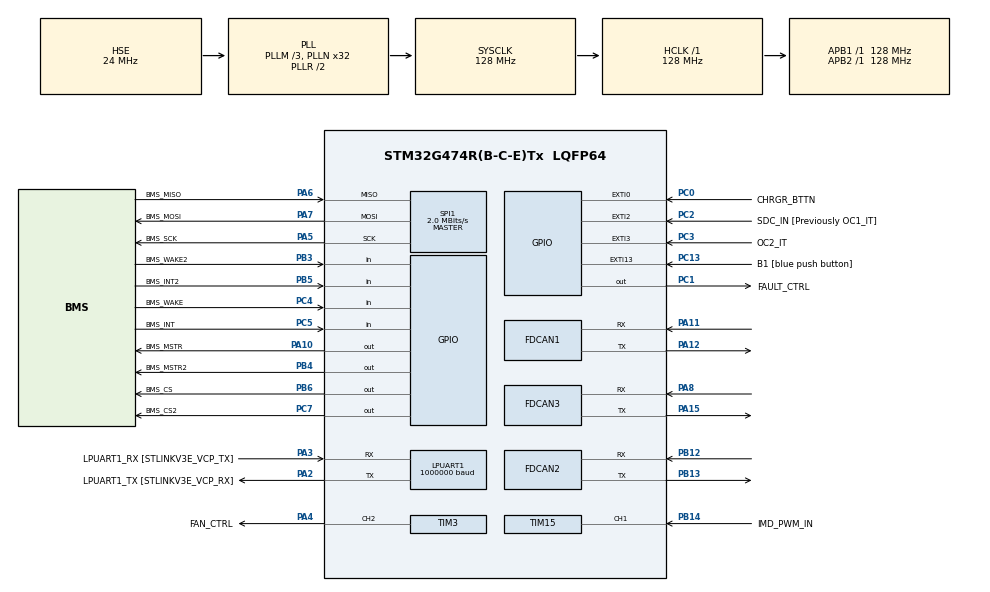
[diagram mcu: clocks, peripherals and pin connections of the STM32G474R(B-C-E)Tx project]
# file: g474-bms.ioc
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Dma.LPUART1_TX.0.Direction=DMA_MEMORY_TO_PERIPH
Dma.LPUART1_TX.0.EventEnable=DISABLE
Dma.LPUART1_TX.0.Instance=DMA1_Channel1
Dma.LPUART1_TX.0.MemDataAlignment=DMA_MDATAALIGN_BYTE
Dma.LPUART1_TX.0.MemInc=DMA_MINC_ENABLE
Dma.LPUART1_TX.0.Mode=DMA_NORMAL
Dma.LPUART1_TX.0.PeriphDataAlignment=DMA_PDATAALIGN_BYTE
Dma.LPUART1_TX.0.PeriphInc=DMA_PINC_DISABLE
Dma.LPUART1_TX.0.Polarity=HAL_DMAMUX_REQ_GEN_RISING
Dma.LPUART1_TX.0.Priority=DMA_PRIORITY_LOW
Dma.LPUART1_TX.0.RequestNumber=1
Dma.LPUART1_TX.0.SignalID=NONE
Dma.LPUART1_TX.0.SyncEnable=DISABLE
Dma.LPUART1_TX.0.SyncPolarity=HAL_DMAMUX_SYNC_NO_EVENT
Dma.LPUART1_TX.0.SyncRequestNumber=1
Dma.LPUART1_TX.0.SyncSignalID=NONE
Dma.Request0=LPUART1_TX
FDCAN1.AutoRetransmission=ENABLE
FDCAN1.CalculateBaudRateNominal=1000000
FDCAN1.CalculateTimeBitNominal=1000
FDCAN1.CalculateTimeQuantumNominal=62.5
FDCAN1.ClockDivider=FDCAN_CLOCK_DIV2
FDCAN1.DataSyncJumpWidth=1
FDCAN1.ExtFiltersNbr=2
FDCAN1.NominalPrescaler=4
FDCAN1.NominalSyncJumpWidth=2
FDCAN1.NominalTimeSeg1=13
FDCAN1.NominalTimeSeg2=2
FDCAN1.StdFiltersNbr=1
FDCAN2.AutoRetransmission=ENABLE
FDCAN2.CalculateBaudRateNominal=500000
FDCAN2.CalculateTimeBitNominal=2000
FDCAN2.CalculateTimeQuantumNominal=125.0
FDCAN2.ClockDivider=FDCAN_CLOCK_DIV2
FDCAN2.NominalPrescaler=8
FDCAN2.NominalSyncJumpWidth=2
FDCAN2.NominalTimeSeg1=13
FDCAN2.NominalTimeSeg2=2
FDCAN2.StdFiltersNbr=3
FDCAN3.AutoRetransmission=ENABLE
FDCAN3.CalculateBaudRateNominal=250000
FDCAN3.CalculateTimeBitNominal=4000
FDCAN3.CalculateTimeQuantumNominal=250.0
FDCAN3.ClockDivider=FDCAN_CLOCK_DIV2
FDCAN3.ExtFiltersNbr=1
FDCAN3.NominalPrescaler=8
FDCAN3.NominalSyncJumpWidth=2
FDCAN3.NominalTimeSeg1=13
FDCAN3.NominalTimeSeg2=2
LPUART1.BaudRate=1000000
Mcu.Family=STM32G4
Mcu.Name=STM32G474R(B-C-E)Tx
Mcu.Package=LQFP64
NVIC.DMA1_Channel1_IRQn=true\:0\:0\:false\:false\:true\:false\:true\:true
NVIC.EXTI0_IRQn=true\:0\:0\:false\:false\:true\:true\:true\:true
NVIC.EXTI15_10_IRQn=true\:0\:0\:false\:false\:true\:true\:true\:true
NVIC.FDCAN1_IT0_IRQn=true\:0\:0\:false\:false\:true\:true\:true\:true
NVIC.FDCAN2_IT0_IRQn=true\:0\:0\:false\:false\:true\:true\:true\:true
NVIC.FDCAN3_IT0_IRQn=true\:0\:0\:false\:false\:true\:true\:true\:true
NVIC.LPUART1_IRQn=true\:0\:0\:false\:false\:true\:true\:true\:true
NVIC.PriorityGroup=NVIC_PRIORITYGROUP_4
NVIC.TIM1_BRK_TIM15_IRQn=true\:0\:0\:false\:false\:true\:true\:true\:true
NVIC.TIM1_UP_TIM16_IRQn=true\:0\:0\:false\:false\:true\:true\:true\:true
PA10.GPIO_Label=BMS_MSTR
PA10.Signal=GPIO_Output
PA11.Mode=FDCAN_Activate
PA11.Signal=FDCAN1_RX
PA12.Mode=FDCAN_Activate
PA12.Signal=FDCAN1_TX
PA15.Mode=FDCAN_Activate
PA15.Signal=FDCAN3_TX
PA13.GPIO_Label=T_SWDIO
PA13.Mode=Serial_Wire
PA13.Signal=SYS_JTMS-SWDIO
PA14.GPIO_Label=T_SWCLK
PA14.Mode=Serial_Wire
PA14.Signal=SYS_JTCK-SWCLK
PA2.GPIO_Label=LPUART1_TX [STLINKV3E_VCP_RX]
PA2.Mode=Asynchronous
PA2.Signal=LPUART1_TX
PA3.GPIO_Label=LPUART1_RX [STLINKV3E_VCP_TX]
PA3.Mode=Asynchronous
PA3.Signal=LPUART1_RX
PA4.GPIO_Label=FAN_CTRL
PA4.Signal=S_TIM3_CH2
PA5.GPIO_Label=BMS_SCK
PA5.Mode=Full_Duplex_Master
PA5.Signal=SPI1_SCK
PA6.GPIO_Label=BMS_MISO
PA6.Mode=Full_Duplex_Master
PA6.Signal=SPI1_MISO
PA7.GPIO_Label=BMS_MOSI
PA7.Mode=Full_Duplex_Master
PA7.Signal=SPI1_MOSI
PA8.Mode=FDCAN_Activate
PA8.Signal=FDCAN3_RX
PB12.Mode=FDCAN_Activate
PB12.Signal=FDCAN2_RX
PB13.Mode=FDCAN_Activate
PB13.Signal=FDCAN2_TX
PB14.GPIO_Label=IMD_PWM_IN
PB14.Signal=S_TIM15_CH1
PB3.GPIO_Label=BMS_WAKE2
PB3.Signal=GPIO_Input
PB4.GPIO_Label=BMS_MSTR2
PB4.Signal=GPIO_Output
PB5.GPIO_Label=BMS_INT2
PB5.Signal=GPIO_Input
PB6.GPIO_Label=BMS_CS
PB6.Signal=GPIO_Output
PC0.GPIO_Label=CHRGR_BTTN
PC0.GPIO_ModeDefaultEXTI=GPIO_MODE_IT_FALLING
PC0.GPIO_PuPd=GPIO_NOPULL
PC0.Signal=GPXTI0
PC1.GPIO_Label=FAULT_CTRL
PC1.GPIO_ModeDefaultOutputPP=GPIO_MODE_OUTPUT_OD
PC1.GPIO_PuPd=GPIO_NOPULL
PC1.PinState=GPIO_PIN_SET
PC1.Signal=GPIO_Output
PC13.GPIO_Label=B1 [blue push button]
PC13.Signal=GPXTI13
PC14-OSC32_IN.GPIO_Label=RCC_OSC32_IN
PC14-OSC32_IN.Mode=LSE-External-Oscillator
PC14-OSC32_IN.Signal=RCC_OSC32_IN
PC15-OSC32_OUT.GPIO_Label=RCC_OSC32_OUT
PC15-OSC32_OUT.Mode=LSE-External-Oscillator
PC15-OSC32_OUT.Signal=RCC_OSC32_OUT
PC2.GPIO_Label=SDC_IN [Previously OC1_IT]
PC2.Signal=GPXTI2
PC3.GPIO_Label=OC2_IT
PC3.Signal=GPXTI3
PC4.GPIO_Label=BMS_WAKE
PC4.Signal=GPIO_Input
PC5.GPIO_Label=BMS_INT
PC5.Signal=GPIO_Input
PC7.GPIO_Label=BMS_CS2
PC7.Signal=GPIO_Output
PF0-OSC_IN.GPIO_Label=RCC_OSC_IN
PF0-OSC_IN.Mode=HSE-External-Oscillator
PF0-OSC_IN.Signal=RCC_OSC_IN
PF1-OSC_OUT.GPIO_Label=RCC_OSC_OUT
PF1-OSC_OUT.Mode=HSE-External-Oscillator
PF1-OSC_OUT.Signal=RCC_OSC_OUT
ProjectManager.HeapSize=0x200
ProjectManager.StackSize=0x400
ProjectManager.TargetToolchain=STM32CubeIDE
RCC.ADC12Freq_Value=128000000
RCC.ADC345Freq_Value=128000000
RCC.AHBFreq_Value=128000000
RCC.APB1Freq_Value=128000000
RCC.APB1TimFreq_Value=128000000
RCC.APB2Freq_Value=128000000
RCC.APB2TimFreq_Value=128000000
RCC.CortexFreq_Value=128000000
RCC.EXTERNAL_CLOCK_VALUE=12288000
RCC.HCLKFreq_Value=128000000
RCC.HSE_VALUE=24000000
RCC.HSI48_VALUE=48000000
RCC.HSI_VALUE=16000000
RCC.PLLM=RCC_PLLM_DIV3
RCC.PLLN=32
RCC.PLLSourceVirtual=RCC_PLLSOURCE_HSE
RCC.RTCClockSelection=RCC_RTCCLKSOURCE_LSE
RCC.SYSCLKFreq_VALUE=128000000
RCC.SYSCLKSource=RCC_SYSCLKSOURCE_PLLCLK
RCC.USBFreq_Value=128000000
RCC.VCOOutputFreq_Value=256000000
SH.S_TIM15_CH1.0=TIM15_CH1,PWM_Input_1
SH.S_TIM3_CH2.0=TIM3_CH2,PWM Generation2 CH2
SPI1.BaudRatePrescaler=SPI_BAUDRATEPRESCALER_64
SPI1.CalculateBaudRate=2.0 MBits/s
SPI1.DataSize=SPI_DATASIZE_8BIT
SPI1.Direction=SPI_DIRECTION_2LINES
SPI1.Mode=SPI_MODE_MASTER
SPI1.VirtualType=VM_MASTER
TIM15.Prescaler=0
TIM16.AutoReloadPreload=TIM_AUTORELOAD_PRELOAD_DISABLE
TIM16.PeriodNoDither=100 - 1
TIM16.Prescaler=1280 - 1
TIM2.PeriodNoDither=4294967295
TIM2.Prescaler=128-1
TIM3.AutoReloadPreload=TIM_AUTORELOAD_PRELOAD_ENABLE
TIM3.Channel-PWM\ Generation2\ CH2=TIM_CHANNEL_2
TIM3.PeriodNoDither=256 - 1
TIM3.Prescaler=20 - 1
VP_SYS_VS_DBSignals.Mode=DisableDeadBatterySignals
VP_TIM15_VS_ClockSourceINT.Mode=Internal
VP_TIM16_VS_ClockSourceINT.Mode=Enable_Timer
VP_TIM2_VS_ClockSourceINT.Mode=Internal
VP_TIM3_VS_ClockSourceINT.Mode=Internal
board=NUCLEO-G474RE

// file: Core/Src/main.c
/* USER CODE BEGIN Header */
/**
  ******************************************************************************
  * @file           : main.c
  * @brief          : Main program body
  ******************************************************************************
  * @attention
  *
  * Copyright (c) 2024 STMicroelectronics.
  * All rights reserved.
  *
  * This software is licensed under terms that can be found in the LICENSE file
  * in the root directory of this software component.
  * If no LICENSE file comes with this software, it is provided AS-IS.
  *
  ******************************************************************************
  */
/* USER CODE END Header */
#include "main.h"
#include "dma.h"
#include "fdcan.h"
#include "usart.h"
#include "spi.h"
#include "tim.h"
#include "gpio.h"

/* USER CODE BEGIN Includes */
#include "string.h"
#include "stdio.h"

#include "bms_datatypes.h"
#include "bms_utility.h"
#include "bms_mcuWrapper.h"
#include "bms_libWrapper.h"

#include "uartDMA.h"
#include "bms_can.h"
#include "bms_gpio.h"
#include "bms_ivt.h"
#include "bms_safety.h"
#include "bms_precharge.h"
#include "bms_inverter.h"
#include "bms_settings.h"
#include "bms_charger.h"
#include <math.h>

/* USER CODE END Includes */

/* USER CODE BEGIN PTD */

typedef struct {
    volatile uint32_t runtime_sec;
    volatile uint32_t counter_commsError;
    volatile uint32_t counter_commsErrorCumulative;
} ProgramStats;

typedef BmsImdStatus ImdStatus;

/* USER CODE END PTD */

/* USER CODE BEGIN PV */

ProgramStats    programStats = {0};
ImdStatus       imdStatus = {0};
static volatile struct {uint32_t period,high;bool pending;} imdCapture;

volatile bool initRequired = true;

/* USER CODE END PV */

void SystemClock_Config(void);
/* USER CODE BEGIN PFP */

void BMS_WriteFanDuty(float duty);
void BMS_CommsRecovery(void);
static void BMS_PollChargerButton(void);

/* USER CODE END PFP */

int main(void)
{

  /* MCU Configuration--------------------------------------------------------*/

  /* Reset of all peripherals, Initializes the Flash interface and the Systick. */
  HAL_Init();

  /* Configure the system clock */
  SystemClock_Config();

  /* Initialize all configured peripherals */
  MX_GPIO_Init();
  MX_DMA_Init();
  MX_LPUART1_UART_Init();
  MX_SPI1_Init();
  MX_TIM2_Init();
  MX_TIM16_Init();
  MX_FDCAN1_Init();
  MX_FDCAN2_Init();
  MX_TIM15_Init();
  MX_TIM3_Init();
  MX_FDCAN3_Init();

  /* Infinite loop */
  /* USER CODE BEGIN WHILE */

    BMS_Startup();

    while (1)
    {
        BMS_MainLoopIteration();

    /* USER CODE END WHILE */

    }
}

void SystemClock_Config(void)
{
  RCC_OscInitTypeDef RCC_OscInitStruct = {0};
  RCC_ClkInitTypeDef RCC_ClkInitStruct = {0};

  /** Configure the main internal regulator output voltage
  */
  HAL_PWREx_ControlVoltageScaling(PWR_REGULATOR_VOLTAGE_SCALE1);

  /** Initializes the RCC Oscillators according to the specified parameters
  * in the RCC_OscInitTypeDef structure.
  */
  RCC_OscInitStruct.OscillatorType = RCC_OSCILLATORTYPE_HSE;
  RCC_OscInitStruct.HSEState = RCC_HSE_ON;
  RCC_OscInitStruct.PLL.PLLState = RCC_PLL_ON;
  RCC_OscInitStruct.PLL.PLLSource = RCC_PLLSOURCE_HSE;
  RCC_OscInitStruct.PLL.PLLM = RCC_PLLM_DIV3;
  RCC_OscInitStruct.PLL.PLLN = 32;
  RCC_OscInitStruct.PLL.PLLP = RCC_PLLP_DIV2;
  RCC_OscInitStruct.PLL.PLLQ = RCC_PLLQ_DIV2;
  RCC_OscInitStruct.PLL.PLLR = RCC_PLLR_DIV2;
  if (HAL_RCC_OscConfig(&RCC_OscInitStruct) != HAL_OK)
  {
    Error_Handler();
  }

  /** Initializes the CPU, AHB and APB buses clocks
  */
  RCC_ClkInitStruct.ClockType = RCC_CLOCKTYPE_HCLK|RCC_CLOCKTYPE_SYSCLK
                              |RCC_CLOCKTYPE_PCLK1|RCC_CLOCKTYPE_PCLK2;
  RCC_ClkInitStruct.SYSCLKSource = RCC_SYSCLKSOURCE_PLLCLK;
  RCC_ClkInitStruct.AHBCLKDivider = RCC_SYSCLK_DIV1;
  RCC_ClkInitStruct.APB1CLKDivider = RCC_HCLK_DIV1;
  RCC_ClkInitStruct.APB2CLKDivider = RCC_HCLK_DIV1;

  if (HAL_RCC_ClockConfig(&RCC_ClkInitStruct, FLASH_LATENCY_4) != HAL_OK)
  {
    Error_Handler();
  }
}

/* USER CODE BEGIN 4 */

// Everything after the CubeMX peripheral init, up to the main loop
void BMS_Startup(void)
{
    // Board I/O from bms_config.h. Fault output asserted and TSAC ready relay off until proven safe.
    BMS_GPIO_Init();

    // Runtime settings saved from the GUI (inverter limits, charger setpoints), before anything uses them
    BMS_Settings_Init();

    // Configure FDCAN (CAN1 car bus, CAN2 inside the TSAC, CAN3 charger)
    BMS_CAN_Config();

    // Start Timer16 (fast CAN frames, safety tick and CAN burst)
    if(HAL_TIM_Base_Start_IT(&htim16)!=HAL_OK ||
       HAL_TIM_IC_Start_IT(&htim15,TIM_CHANNEL_1)!=HAL_OK ||
       HAL_TIM_IC_Start(&htim15,TIM_CHANNEL_2)!=HAL_OK ||
       HAL_TIM_PWM_Start(&htim3,TIM_CHANNEL_2)!=HAL_OK)Error_Handler();
    BMS_WriteFanDuty(0.7);

    printfDma("\n\n +++++             PROGRAM START             +++++ \n\n");
    printfDma("Board profile: %s, slaves=%d, energetic capabilities B/C/H/I=%d/%d/%d/%d\n",BMS_PROFILE_NAME,TOTAL_IC,BMS_CAN_BALANCE,BMS_CAN_ACTUATE_CONTACTORS,BMS_CAN_ENABLE_CHARGER,BMS_CAN_DRIVE_INVERTER);
    if (CFG_LOCAL_OVERRIDES)
    {
        printfDma(" *** BENCH BUILD: bms_config_local.h overrides bms_config.h. NOT FOR THE CAR. *** \n\n");
    }
    printfDma("Inputs: SDC %s, charger button %s\n", BMS_GPIO_IsSdcClosed() ? "closed" : "open",
              BMS_GPIO_IsChargerButtonPressed() ? "pressed" : "released");
    bms_softReset();
    HAL_Delay(500);         // Initialisation delay, also covers the IVT-S start-up time

    if(!bms_wakeupChain())BMS_RequestSafeOutputs();
    bms_softReset();

    // From here the main loop must run at least every CFG_WATCHDOG_TIMEOUT_MS
    BMS_Watchdog_Start();
}

// One pass of the main loop: measure, react, then wait out the rest of CFG_MEAS_PERIOD_MS
// Logs each change of the fault flags or the fault output with the tick it happened on
static void logSafetyEvents(void)
{
    static const char* const names[] = { "COMMS", "VOLTAGE", "TEMP", "CURRENT", "OPEN_WIRE", "IVT", "STARTUP" };
    static bool     lastOutput = true;
    static uint32_t lastLost   = 0;
    SafetyEvent e;
    uint32_t lost;

    while (BMS_Safety_PopEvent(&e, &lost))
    {
        char changes[96];
        int  n = 0;
        for (uint32_t b = 0; b < sizeof(names) / sizeof(names[0]) && n < (int)sizeof(changes) - 16; b++)
        {
            uint32_t bit = 1UL << b;
            if ((e.flags ^ e.prevFlags) & bit)
            {
                n += snprintf(&changes[n], sizeof(changes) - n, " %c%s", (e.flags & bit) ? '+' : '-', names[b]);
            }
        }
        changes[n] = '\0';
        const char* output = e.faultOutput == lastOutput ? "" : e.faultOutput ? "output ON" : "output off";
        if (e.flags != e.prevFlags)
        {
            printfDma("Fault %lu ms: 0x%02lX -> 0x%02lX%s%s%s\n", (unsigned long)e.tick, (unsigned long)e.prevFlags,
                      (unsigned long)e.flags, changes, output[0] ? ", " : "", output);
        }
        else
        {
            printfDma("Fault %lu ms: %s\n", (unsigned long)e.tick, output);
        }
        lastOutput = e.faultOutput;
        if (lost != lastLost)
        {
            printfDma("Fault log: %lu changes not logged\n", (unsigned long)(lost - lastLost));
            lastLost = lost;
        }
    }
}

void BMS_MainLoopIteration(void)
{
    BMS_StatusTypeDef bmsStatus;
    BMS_ProcessImdCapture();
    uint32_t timeStart = HAL_GetTick();

#ifdef BMS_TEST_WATCHDOG
    // Bring-up test build only: hang after 10 s. The watchdog must reset the MCU with the fault output held.
    if (timeStart > 10000)
    {
        printfDma("BMS_TEST_WATCHDOG: hanging the main loop\n");
        while (1)
        {
        }
    }
#endif

    BMS_Watchdog_Kick();
    bool commsFailed = false;

    // Init BMS
    if (initRequired == true)
    {
        bmsStatus = bms_init();
        if (bmsStatus == BMS_OK)
        {
            initRequired = false;
        }
        else
        {
            BMS_CommsRecovery();
            commsFailed = true;
        }
    }

    // BMS Program Loop. Limit violations go to the safety module, only comms errors come back here.
    if (initRequired == false)
    {
        bmsStatus = BMS_ProgramLoop();
        if (bmsStatus == BMS_OK)
        {
            programStats.counter_commsError = 0;
        }
        else
        {
            BMS_CommsRecovery();
            commsFailed = true;
        }
    }

    // Never charge while the AMS is faulted
    if (BMS_IsCharging() && BMS_Safety_IsFaultOutputActive())
    {
        printfDma("Fault Detected, Disabling Charging \n");
        BMS_EnableCharging(false);
    }

    BMS_IVT_Service();
    BMS_Settings_Service();
    logSafetyEvents();

    // Calculate single loop runtime
    uint32_t timeDiff = HAL_GetTick() - timeStart;
    if (CFG_DEBUG_PRINT_LOOP)
    {
        printfDma("Runtime: %lu ms, LoopTime: %lu ms, Faults: 0x%02lX \n", (unsigned long)HAL_GetTick(),
                  (unsigned long)timeDiff, (unsigned long)BMS_Safety_GetActiveFlags());
    }
    if (timeDiff > CFG_MEAS_PERIOD_MS)
    {
        printfDma("WARNING! Loop overrun: %lu ms \n", (unsigned long)timeDiff);
    }
    if (BMS_GetLoopTimeMs() > CFG_MEAS_CYCLE_MAX_MS)
    {
        printfDma("WARNING! Measurement cycle %lu ms, longer than CFG_MEAS_CYCLE_MAX_MS \n",
                  (unsigned long)BMS_GetLoopTimeMs());
    }

    // Wait for the rest of the measurement period, answering settings requests and looking after the IVT meanwhile.
    // A failed cycle is retried after CFG_COMMS_RETRY_DELAY_MS while the measurements aren't stale yet, so a brief
    // isoSPI glitch or slave power dip is ridden through; after that, at the normal period.
    bool retrySoon = commsFailed && BMS_Safety_GetMeasurementAgeMs() < CFG_MEAS_STALE_TIMEOUT_MS;
    uint32_t waitFrom = retrySoon ? HAL_GetTick() : timeStart;
    uint32_t waitFor  = retrySoon ? CFG_COMMS_RETRY_DELAY_MS : CFG_MEAS_PERIOD_MS;
    while (HAL_GetTick() - waitFrom < waitFor)
    {
        BMS_Watchdog_Kick();
        BMS_Settings_Service();
        BMS_IVT_Service();
        logSafetyEvents();
    }
}

/// Timer interrupt callback
// Callback: timer has rolled over
void HAL_TIM_PeriodElapsedCallback(TIM_HandleTypeDef *htim)
{
    // runtime (seconds) timer
    static uint32_t secondsDiv = 0;

    // CAN Transmit Periodic Timing Variable
    static uint32_t canTiming = 0;

    // Timer tick dividers. The inverter limits go out half a fast period after the fast frames.
    static uint32_t fastTiming = 0;
    static uint32_t inverterTiming = CFG_CAN_FAST_PERIOD_MS / 2 / CFG_TIMER_TICK_MS;
    static uint32_t safetyTiming = 0;

    if (htim == &htim16) // Every CFG_TIMER_TICK_MS
    {
        BMS_IVT_Tick();                             // U1 averaged over the cell conversion
        BMS_Inverter_Tick();                        // 500 ms moving average of the discharge power

        // Frames queued this tick: only 2 TX buffers are kept free, so each tick sends at most one group
        bool sentThisTick = false;
        static bool responseSentThisPeriod = false;

        if (++fastTiming >= CFG_CAN_FAST_PERIOD_MS / CFG_TIMER_TICK_MS)
        {
            CanTxMsg fastMsgs[CAN_FAST_FRAME_COUNT];
            BMS_CAN_SendFast(fastMsgs, BMS_GetFastCanData(fastMsgs));
            fastTiming = 0;
            sentThisTick = true;
            responseSentThisPeriod = false;
        }

        // Inverter limits, then the BMS_Limits frame on the next tick
        static bool limitsFramePending = false;
        if (++inverterTiming >= CFG_INVERTER_LIMIT_PERIOD_MS / CFG_TIMER_TICK_MS)
        {
            BMS_Inverter_Update();
            if (CFG_INVERTER_LIMITS_ENABLED)
            {
                CanTxMsg limitMsgs[INVERTER_LIMIT_FRAME_COUNT];
                BMS_CAN_SendFast(limitMsgs, BMS_Inverter_GetCanFrames(limitMsgs));
                sentThisTick = true;
            }
            limitsFramePending = true;
            inverterTiming = 0;
        }
        else if (limitsFramePending)
        {
            CanTxMsg limitsFrame;
            BMS_Inverter_GetLimitsFrame(&limitsFrame);
            BMS_CAN_SendFast(&limitsFrame, 1);
            limitsFramePending = false;
            sentThisTick = true;
        }

        // Settings responses: at most one per fast period, on a tick with nothing else
        CanTxMsg response;
        if (!sentThisTick && !responseSentThisPeriod && BMS_Settings_GetResponse(&response))
        {
            BMS_CAN_SendFast(&response, 1);
            responseSentThisPeriod = true;
        }

        if (++safetyTiming < CFG_SAFETY_TICK_MS / CFG_TIMER_TICK_MS)
        {
            return;
        }
        safetyTiming = 0;

        // Every CFG_SAFETY_TICK_MS from here
        // Fault evaluation, AMS fault output and TSAC ready relay, then precharge (same tick)
        BMS_Safety_Tick();
        BMS_Precharge_Tick();
        BMS_Charger_Tick();
        BMS_CAN_RecoverBusOff();

        if (++secondsDiv >= 1000 / CFG_SAFETY_TICK_MS)
        {
            programStats.runtime_sec += 1;
            secondsDiv = 0;
        }

        // CAN Timing Divider
        if (++canTiming >= CFG_CAN_TX_PERIOD_MS / CFG_SAFETY_TICK_MS)
        {
            CanTxMsg *msgArr = NULL;
            uint32_t len = 0;
            BMS_GetCanData(&msgArr, &len);
            BMS_CAN_SendBuffer(msgArr, len);

            CanTxMsg charger;
            BMS_GetChargerCanMsg(&charger);
            BMS_CAN_SendCharger(&charger);          // CAN3
            BMS_Charger_GetInhibit(&charger); BMS_CAN_SendCharger(&charger);
            canTiming = 0;
        }

        BMS_PollChargerButton();

        // If charging and SDC is disconnected:
        if (BMS_IsCharging() && !BMS_GPIO_IsSdcClosed())
        {
            printfDma("SDC Disconnected, Disabling Charging \n");
            BMS_EnableCharging(false);
        }
    }
}

void BMS_ProcessImdCapture(void)
{
    uint32_t mask=__get_PRIMASK();__disable_irq();
    bool pending=imdCapture.pending;uint32_t period=imdCapture.period,high=imdCapture.high;
    imdCapture.pending=false;__set_PRIMASK(mask);
    if(!pending)return;
    imdStatus.period=period;
    if(period) {imdStatus.duty=(float)(((double)high*100.0)/(double)period);imdStatus.freq=CFG_IMD_TIMER_CLOCK_HZ/period;}
}
BmsImdStatus BMS_GetImdStatus(void)
{
    uint32_t mask=__get_PRIMASK();__disable_irq();BmsImdStatus status=imdStatus;__set_PRIMASK(mask);return status;
}
void HAL_TIM_IC_CaptureCallback(TIM_HandleTypeDef *htim)
{
    if(htim==&htim15) {
        imdCapture.period=HAL_TIM_ReadCapturedValue(htim,TIM_CHANNEL_1);
        imdCapture.high=imdCapture.period ? HAL_TIM_ReadCapturedValue(htim,TIM_CHANNEL_2):0;
        imdCapture.pending=true;
    }
}

void HAL_GPIO_EXTI_Callback(uint16_t GPIO_Pin)
{
    uint32_t currentTime = HAL_GetTick();

    const uint32_t DEBOUNCE_DELAY = 500;
    static uint32_t lastDebounceTime_B1 = 0;

    switch (GPIO_Pin)
    {
    case B1_Pin:                // Blue onboard button (for debugging mainly)
        // Debounce check
        if (currentTime - lastDebounceTime_B1 < DEBOUNCE_DELAY) break;
        lastDebounceTime_B1 = currentTime;
        printfDma("Blue Button pressed\n");
        break;

    default:
        break;
    }
}

// Charger button, polled from the timer so its pin can be set in bms_config.h
static void BMS_PollChargerButton(void)
{
    const uint32_t DEBOUNCE_TICKS = 50 / CFG_SAFETY_TICK_MS;
    static uint32_t pressedTicks = 0;
    static bool handled = false;

    if (!BMS_GPIO_IsChargerButtonPressed())
    {
        pressedTicks = 0;
        handled = false;
        return;
    }

    if (pressedTicks < DEBOUNCE_TICKS)
    {
        pressedTicks++;
    }
    else if (!handled)
    {
        handled = true;
        printfDma("Charger Button pressed\n");
        BMS_ChargingButtonLogic();
    }
}

// Non-blocking: the safety tick faults on stale data, this only gets the chain talking again.
// A single PEC error is usually noise, so it is just retried on the next cycle. If the chain keeps
// failing it is reset and re-initialised.
void BMS_CommsRecovery(void)
{
    programStats.counter_commsError++;
    programStats.counter_commsErrorCumulative++;

    if (programStats.counter_commsError >= CFG_COMMS_RETRIES)
    {
        bms_softReset();
        initRequired = true;
    }
}

void BMS_WriteFanDuty(float duty)
{
    if (!isfinite(duty) || duty > 1 || duty <= 0)
        return;

    duty = 1 - duty;

    TIM3->CCR2 = (uint16_t)(255.0 * duty);
}

/* USER CODE END 4 */

void Error_Handler(void)
{
  /* USER CODE BEGIN Error_Handler_Debug */
  /* User can add his own implementation to report the HAL error return state */
  BMS_Safety_ForceFault();      // Safe outputs
  // The watchdog then resets the MCU. Started here if it isn't running yet (a clock or peripheral init failed,
  // e.g. the HSE crystal starting too slowly): a reset tries again instead of hanging until a power cycle.
  BMS_Watchdog_Start();
  __disable_irq();
  while (1)
  {

  }
  /* USER CODE END Error_Handler_Debug */
}
